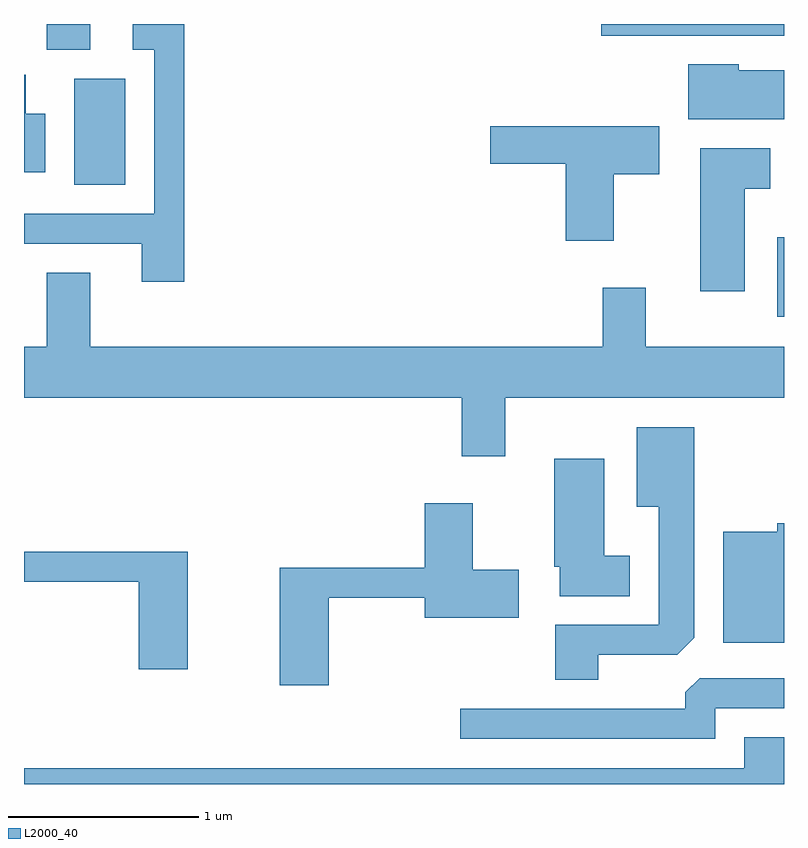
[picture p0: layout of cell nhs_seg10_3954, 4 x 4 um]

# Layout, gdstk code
import gdstk
lib = gdstk.Library(unit=1e-6, precision=1e-09)
def R(c, l, rs):  # rectangles x0, y0, x1, y1
    for r in rs: c.add(gdstk.rectangle(r[:2], r[2:], *l))
def P(c, l, *ps):  # polygons
    for p in ps: c.add(gdstk.Polygon(p, *l))
L2000_40 = (2000, 40)

nhs_seg10_3954 = lib.new_cell('nhs_seg10_3954')
R(nhs_seg10_3954, L2000_40, [(305.576,2140.981,305.611,2141.399), (301.876,2141.676,302.144,2142.234), (301.731,2142.386,301.959,2142.522), (304.648,2142.461,305.611,2142.522)])
P(nhs_seg10_3954, L2000_40, [(302.454,2142.522),(302.183,2142.522),(302.183,2142.386),(302.296,2142.386),(302.296,2141.524),(301.611,2141.524),(301.611,2141.366),(302.231,2141.366),(302.231,2141.166),(302.454,2141.166)],
  [(305.611,2142.279),(305.374,2142.279),(305.374,2142.309),(305.106,2142.309),(305.106,2142.021),(305.611,2142.021)],
  [(301.724,2142.049),(301.619,2142.049),(301.619,2142.254),(301.611,2142.254),(301.611,2141.741),(301.724,2141.741)],
  [(304.714,2141.731),(304.954,2141.731),(304.954,2141.984),(304.066,2141.984),(304.066,2141.786),(304.461,2141.786),(304.461,2141.381),(304.714,2141.381)],
  [(305.404,2141.656),(305.539,2141.656),(305.539,2141.869),(305.171,2141.869),(305.171,2141.116),(305.404,2141.116)],
  [(304.656,2141.134),(304.656,2140.824),(301.959,2140.824),(301.959,2141.214),(301.731,2141.214),(301.731,2140.824),(301.611,2140.824),(301.611,2140.556),(303.916,2140.556),(303.916,2140.246),(304.144,2140.246),(304.144,2140.556),(305.611,2140.556),(305.611,2140.824),(304.884,2140.824),(304.884,2141.134)],
  [(304.634,2139.201),(305.049,2139.201),(305.139,2139.292),(305.139,2140.399),(304.836,2140.399),(304.836,2139.981),(304.951,2139.981),(304.951,2139.359),(304.406,2139.359),(304.406,2139.071),(304.634,2139.071)],
  [(304.799,2139.724),(304.664,2139.724),(304.664,2140.234),(304.401,2140.234),(304.401,2139.666),(304.431,2139.666),(304.431,2139.511),(304.799,2139.511)],
  [(303.214,2139.501),(303.721,2139.501),(303.721,2139.396),(304.214,2139.396),(304.214,2139.649),(303.974,2139.649),(303.974,2139.999),(303.721,2139.999),(303.721,2139.659),(302.956,2139.659),(302.956,2139.041),(303.214,2139.041)],
  [(305.611,2139.894),(305.576,2139.894),(305.576,2139.849),(305.291,2139.849),(305.291,2139.266),(305.611,2139.266)],
  [(302.474,2139.744),(301.611,2139.744),(301.611,2139.586),(302.216,2139.586),(302.216,2139.126),(302.474,2139.126)],
  [(305.249,2138.921),(305.611,2138.921),(305.611,2139.079),(305.167,2139.079),(305.091,2139.004),(305.091,2138.919),(303.908,2138.919),(303.908,2138.761),(305.249,2138.761)],
  [(305.611,2138.769),(305.401,2138.769),(305.401,2138.604),(301.611,2138.604),(301.611,2138.522),(305.611,2138.522)])

lib.write_gds('nhs_seg10_3954.gds')
